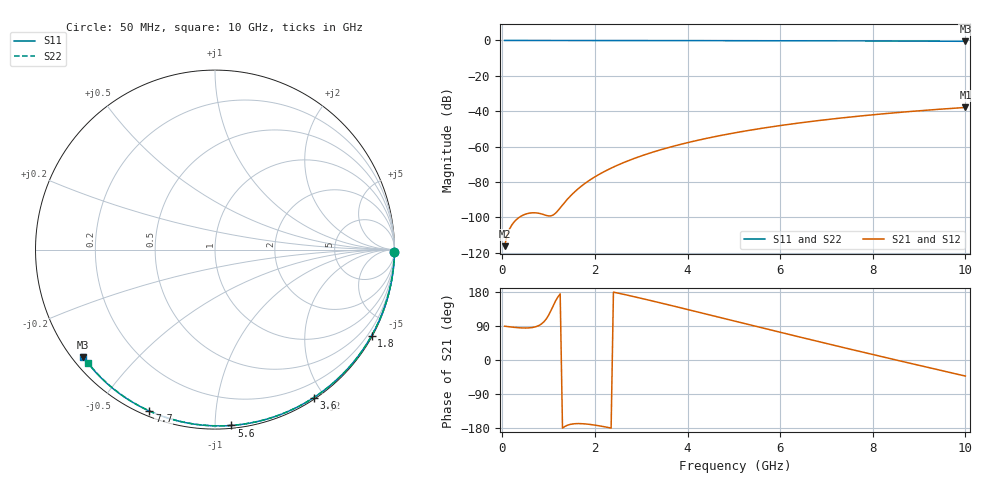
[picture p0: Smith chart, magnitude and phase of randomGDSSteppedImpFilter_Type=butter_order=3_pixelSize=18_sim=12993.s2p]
! freq	dB(S11)	phase(S11)	dB(S12)	phase(S12)
!  dB(S21)	phase(S21)	dB(S22)	phase(S22)
!S-par simulation data
#  GHz  S  DB  R 50
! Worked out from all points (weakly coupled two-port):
!   200 points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, 50 MHz to 10 GHz, reference 50 ohm
!   highest |S21| = -37.89 dB at 10 GHz (marker M1); lowest = -116.3 dB at 50 MHz (marker M2)
!   lowest |S11| = -0.5 dB at 10 GHz (marker M3), VSWR 36.60, Z = 1.54 - j17.8 ohm
!   |S11| at or under -10 dB: nowhere
!   |S22| runs from -0.5 to 0.0 dB; largest |S21 - S12| = 0
!   S11 on the Smith chart (normalised r, x): 50 MHz: open; 1.8 GHz: 0.03, -3.89; 3.6 GHz: 0.02, -1.87; 5.6 GHz: 0.02, -1.10; 7.7 GHz: 0.02, -0.67; 10 GHz: 0.03, -0.36
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0.05  -0.00 -0.8  -116.33 89.2  -116.33 89.2  -0.00 -0.8
0.45  -0.01 -7.3  -98.76 84.5  -98.76 84.5  -0.01 -7.2
0.9  -0.02 -14.6  -98.54 101.0  -98.54 101.0  -0.02 -14.3
1.75  -0.04 -28.0  -81.53 -168.3  -81.53 -168.3  -0.04 -27.6
1.8  -0.04 -28.8  -80.56 -168.8  -80.56 -168.8  -0.04 -28.4
1.85  -0.04 -29.6  -79.65 -169.4  -79.65 -169.4  -0.04 -29.1
2.05  -0.04 -32.7  -76.34 -172.8  -76.34 -172.8  -0.04 -32.2
2.25  -0.05 -35.8  -73.49 -177.2  -73.49 -177.2  -0.05 -35.3
2.55  -0.05 -40.5  -69.83 175.2  -69.83 175.2  -0.05 -39.8
2.95  -0.06 -46.6  -65.77 164.2  -65.77 164.2  -0.06 -45.8
3.4  -0.07 -53.3  -61.97 151.2  -61.97 151.2  -0.07 -52.5
3.6  -0.08 -56.3  -60.48 145.3  -60.48 145.3  -0.07 -55.4
3.9  -0.08 -60.7  -58.43 136.3  -58.43 136.3  -0.08 -59.7
4.3  -0.09 -66.5  -55.99 124.3  -55.99 124.3  -0.09 -65.4
5.05  -0.12 -77.1  -52.10 101.7  -52.10 101.7  -0.12 -75.8
5.6  -0.14 -84.6  -49.70 85.2  -49.70 85.2  -0.14 -83.3
6.15  -0.16 -92.0  -47.58 68.7  -47.58 68.7  -0.16 -90.6
6.7  -0.19 -99.3  -45.71 52.4  -45.71 52.4  -0.19 -97.7
7.7  -0.26 -112.1  -42.80 23.1  -42.80 23.1  -0.25 -110.3
8.35  -0.31 -120.3  -41.19 4.4  -41.19 4.4  -0.30 -118.3
9.2  -0.39 -130.9  -39.36 -19.8  -39.36 -19.8  -0.38 -128.6
10  -0.47 -140.8  -37.89 -42.4  -37.89 -42.4  -0.47 -138.2
